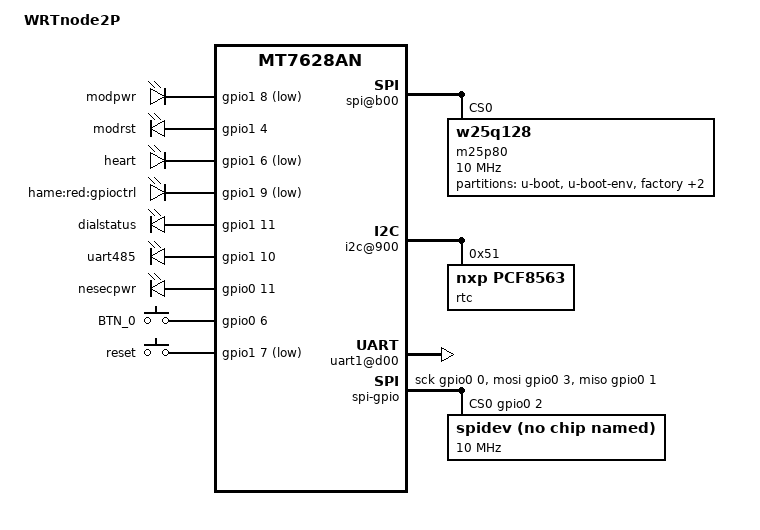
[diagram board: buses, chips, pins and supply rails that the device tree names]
/dts-v1/;

/include/ "mt7628an.dtsi"

/ {
	compatible = "mediatek,wrtnode2p", "mediatek,mt7628an-soc";
	model = "WRTnode2P";

        chosen {
                bootargs = "console=ttyS0,57600";
        };
	
	pinctrl {
		state_default: pinctrl0 {
			gpio {
				ralink,group = "gpio","wled_an", "i2s", "refclk", "perst", "wdt", "spi cs1";
				ralink,function = "gpio";
			};
			ephy_p0 {
				ralink,group = "ephy_p0";
				ralink,function = "gpio";
			};
			ephy_p1 {
				ralink,group = "ephy_p1";
				ralink,function = "gpio";
			};
			ephy_p2 {
				ralink,group = "ephy_p2";
				ralink,function = "gpio";
			};
			ephy_p3 {
				ralink,group = "ephy_p3";
				ralink,function = "gpio";
			};
			ephy_p4 {
				ralink,group = "ephy_p4";
				ralink,function = "gpio";
			};
		};
	};

	palmbus@10000000 {
		spi@b00 {
			status = "okay";

			m25p80@0 {
				#address-cells = <1>;
				#size-cells = <1>;
				compatible = "w25q128";
				reg = <0 0>;
				linux,modalias = "m25p80";
				spi-max-frequency = <10000000>;
				m25p,chunked-io = <32>;

				partition@0 {
					label = "u-boot";
					reg = <0x0 0x30000>;
				};

				partition@30000 {
					label = "u-boot-env";
					reg = <0x30000 0x10000>;
				};

				factory: partition@40000 {
					label = "factory";
					reg = <0x40000 0x10000>;
				};

				partition@50000 {
					label = "firmware";
					reg = <0x50000 0x900000>;
				};
				partition@950000 {
					label = "firmbak";
					reg = <0x950000 0x6b0000>;
				};
			};
		};
		
		i2c@900 {
			status = "okay";
			rtc@51 {
				compatible = "nxp,pcf8563";
				 reg = <0x51>;
			};
		};
		
		uart1@d00 {
			status = "okay";
		};
	};
	
	spi-gpio {
		compatible = "spi-gpio";
		#address-cells = <0x1>;
		cs-gpios = <&gpio0 2 0>;
		gpio-sck = <&gpio0 0 0>;
		gpio-mosi = <&gpio0 3 0>;
		gpio-miso = <&gpio0 1 0>;
		num-chipselects = <1>;
		spidev@0 {
			#address-cells = <0x1>;
			compatible = "spidev";
			spi-max-frequency = <10000000>;
			reg = <0>;
		};
	};
	
	ethernet@10100000 {
		mtd-mac-address = <&factory 0x4>;
		ralink,port-map = "llllw";
	};

	gpio-leds {
		compatible = "gpio-leds";
		modpwr {
			label = "modpwr";
			gpios = <&gpio1 8 1>;
		};
		modrst {
			label = "modrst";
			gpios = <&gpio1 4 0>;
		};
		heart {
			label = "heart";
			gpios = <&gpio1 6 1>;
		};
		gpioctrl {
			label = "hame:red:gpioctrl";
			gpios = <&gpio1 9 1>;
		};
		dialstatus {
			label = "dialstatus";
			gpios = <&gpio1 11 0>;
		};
		uart485 {
			label = "uart485";
			gpios = <&gpio1 10 0>;
		};
		nesecpwr {
			label = "nesecpwr";
			gpios = <&gpio0 11 0>;
		};
	};
	gpio-keys-polled {
		compatible = "gpio-keys-polled";
		#address-cells = <1>;
		#size-cells = <0>;
		poll-interval = <20>;
		vccin {
			label = "BTN_0";
			gpios = <&gpio0 6 0>;
			linux,code = <0x100>;
		};
		reset {
			label = "reset";
			gpios = <&gpio1 7 1>;
			linux,code = <0x198>;
		};
	};
};

